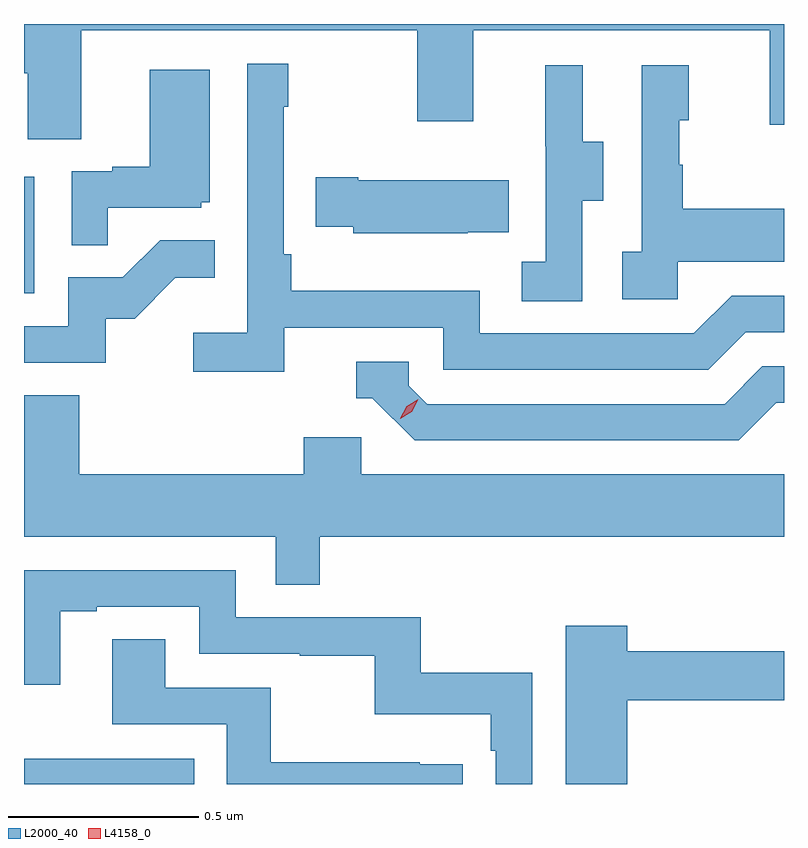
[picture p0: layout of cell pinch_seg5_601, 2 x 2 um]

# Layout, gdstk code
import gdstk
lib = gdstk.Library(unit=1e-6, precision=1e-09)
def R(c, l, rs):  # rectangles x0, y0, x1, y1
    for r in rs: c.add(gdstk.rectangle(r[:2], r[2:], *l))
def P(c, l, *ps):  # polygons
    for p in ps: c.add(gdstk.Polygon(p, *l))
L2000_40 = (2000, 40)
L4158_0 = (4158, 0)

pinch_seg5_601 = lib.new_cell('pinch_seg5_601')
R(pinch_seg5_601, L2000_40, [(1118.281,862.769,1118.729,862.836), (1118.281,864.06,1118.308,864.367)])
P(pinch_seg5_601, L2000_40, [(1118.431,864.752),(1119.316,864.752),(1119.316,864.513),(1119.463,864.513),(1119.463,864.752),(1120.244,864.752),(1120.244,864.504),(1120.281,864.504),(1120.281,864.769),(1118.281,864.769),(1118.281,864.64),(1118.291,864.64),(1118.291,864.466),(1118.431,864.466)],
  [(1118.966,863.97),(1119.384,863.97),(1119.384,863.859),(1120.081,863.859),(1120.18,863.958),(1120.281,863.958),(1120.281,864.054),(1120.143,864.054),(1120.044,863.955),(1119.48,863.955),(1119.48,864.067),(1118.984,864.067),(1118.984,864.163),(1118.964,864.163),(1118.964,864.551),(1118.977,864.551),(1118.977,864.664),(1118.868,864.664),(1118.868,863.956),(1118.727,863.956),(1118.727,863.854),(1118.966,863.854)],
  [(1119.75,864.304),(1119.805,864.304),(1119.805,864.459),(1119.751,864.459),(1119.751,864.661),(1119.653,864.661),(1119.653,864.447),(1119.654,864.447),(1119.654,864.143),(1119.591,864.143),(1119.591,864.04),(1119.75,864.04)],
  [(1120.002,864.143),(1120.281,864.143),(1120.281,864.283),(1120.015,864.283),(1120.015,864.398),(1120.005,864.398),(1120.005,864.516),(1120.03,864.516),(1120.03,864.661),(1119.906,864.661),(1119.906,864.17),(1119.855,864.17),(1119.855,864.045),(1120.002,864.045)],
  [(1118.501,864.285),(1118.748,864.285),(1118.748,864.3),(1118.77,864.3),(1118.77,864.649),(1118.612,864.649),(1118.612,864.394),(1118.513,864.394),(1118.513,864.381),(1118.406,864.381),(1118.406,864.187),(1118.501,864.187)],
  [(1119.449,864.221),(1119.557,864.221),(1119.557,864.358),(1119.16,864.358),(1119.16,864.366),(1119.049,864.366),(1119.049,864.236),(1119.147,864.236),(1119.147,864.218),(1119.449,864.218)],
  [(1118.496,863.994),(1118.572,863.994),(1118.679,864.101),(1118.783,864.101),(1118.783,864.2),(1118.639,864.2),(1118.541,864.102),(1118.397,864.102),(1118.397,863.973),(1118.281,863.973),(1118.281,863.877),(1118.496,863.877)],
  [(1120.261,863.772),(1120.281,863.772),(1120.281,863.868),(1120.224,863.868),(1120.125,863.769),(1119.342,863.769),(1119.294,863.817),(1119.294,863.88),(1119.155,863.88),(1119.155,863.784),(1119.198,863.784),(1119.309,863.673),(1120.162,863.673)],
  [(1119.059,863.42),(1120.281,863.42),(1120.281,863.584),(1119.168,863.584),(1119.168,863.682),(1119.017,863.682),(1119.017,863.584),(1118.426,863.584),(1118.426,863.792),(1118.281,863.792),(1118.281,863.42),(1118.943,863.42),(1118.943,863.293),(1119.059,863.293)],
  [(1119.618,863.062),(1119.325,863.062),(1119.325,863.208),(1118.838,863.208),(1118.838,863.331),(1118.281,863.331),(1118.281,863.03),(1118.377,863.03),(1118.377,863.223),(1118.473,863.223),(1118.473,863.235),(1118.742,863.235),(1118.742,863.112),(1119.007,863.112),(1119.007,863.107),(1119.204,863.107),(1119.204,862.952),(1119.509,862.952),(1119.509,862.856),(1119.522,862.856),(1119.522,862.769),(1119.618,862.769)],
  [(1119.868,862.99),(1120.281,862.99),(1120.281,863.119),(1119.868,863.119),(1119.868,863.185),(1119.707,863.185),(1119.707,862.769),(1119.868,862.769)],
  [(1119.436,862.821),(1119.323,862.821),(1119.323,862.826),(1118.93,862.826),(1118.93,863.022),(1118.653,863.022),(1118.653,863.15),(1118.513,863.15),(1118.513,862.926),(1118.814,862.926),(1118.814,862.769),(1119.436,862.769)])
P(pinch_seg5_601, L4158_0, [(1119.271,863.73),(1119.271,863.731),(1119.288,863.763),(1119.319,863.782),(1119.319,863.782),(1119.319,863.782),(1119.302,863.749),(1119.271,863.73)])

lib.write_gds('pinch_seg5_601.gds')
